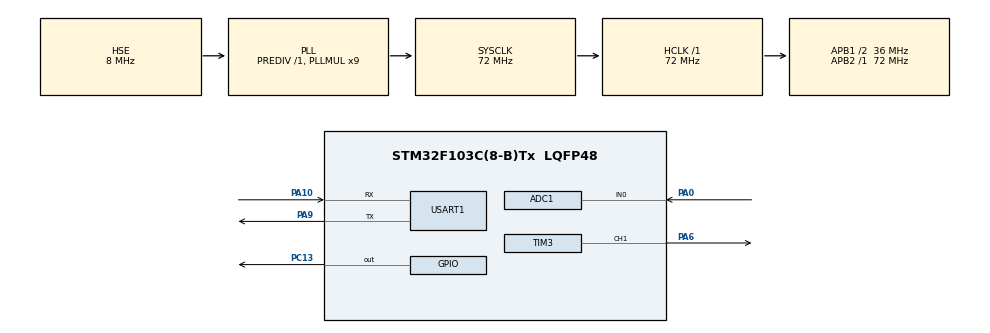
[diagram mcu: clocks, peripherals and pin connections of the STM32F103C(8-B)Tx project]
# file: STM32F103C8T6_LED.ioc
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ADC1.Channel-0\#ChannelRegularConversion=ADC_CHANNEL_0
ADC1.NbrOfConversionFlag=1
ADC1.Rank-0\#ChannelRegularConversion=1
ADC1.SamplingTime-0\#ChannelRegularConversion=ADC_SAMPLETIME_1CYCLE_5
ADC1.master=1
Mcu.Family=STM32F1
Mcu.Name=STM32F103C(8-B)Tx
Mcu.Package=LQFP48
NVIC.PriorityGroup=NVIC_PRIORITYGROUP_4
NVIC.TIM2_IRQn=true\:0\:0\:false\:false\:true\:true\:true\:true
NVIC.USART1_IRQn=true\:0\:0\:false\:false\:true\:true\:true\:true
PA0-WKUP.Signal=ADCx_IN0
PA10.Mode=Asynchronous
PA10.Signal=USART1_RX
PA6.Signal=S_TIM3_CH1
PA9.Mode=Asynchronous
PA9.Signal=USART1_TX
PC13-TAMPER-RTC.Signal=GPIO_Output
PD0-OSC_IN.Mode=HSE-External-Oscillator
PD0-OSC_IN.Signal=RCC_OSC_IN
PD1-OSC_OUT.Mode=HSE-External-Oscillator
PD1-OSC_OUT.Signal=RCC_OSC_OUT
ProjectManager.HeapSize=0x200
ProjectManager.StackSize=0x400
ProjectManager.TargetToolchain=CMake
RCC.ADCPresc=RCC_ADCPCLK2_DIV6
RCC.AHBFreq_Value=72000000
RCC.APB1CLKDivider=RCC_HCLK_DIV2
RCC.APB1Freq_Value=36000000
RCC.APB1TimFreq_Value=72000000
RCC.APB2Freq_Value=72000000
RCC.APB2TimFreq_Value=72000000
RCC.HCLKFreq_Value=72000000
RCC.PLLMUL=RCC_PLL_MUL9
RCC.PLLSourceVirtual=RCC_PLLSOURCE_HSE
RCC.SYSCLKFreq_VALUE=72000000
RCC.SYSCLKSource=RCC_SYSCLKSOURCE_PLLCLK
RCC.USBFreq_Value=72000000
SH.ADCx_IN0.0=ADC1_IN0,IN0
SH.S_TIM3_CH1.0=TIM3_CH1,PWM Generation1 CH1
TIM2.Period=99
TIM2.Prescaler=7199
TIM3.Channel-PWM\ Generation1\ CH1=TIM_CHANNEL_1
TIM3.Period=999
TIM3.Prescaler=71
USART1.VirtualMode=VM_ASYNC
VP_SYS_VS_ND.Mode=No_Debug
VP_TIM2_VS_ClockSourceINT.Mode=Internal
VP_TIM3_VS_ClockSourceINT.Mode=Internal
board=custom

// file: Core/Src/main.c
/* USER CODE BEGIN Header */
/**
  ******************************************************************************
  * @file           : main.c
  * @brief          : Main program body
  ******************************************************************************
  * @attention
  *
  * Copyright (c) 2026 STMicroelectronics.
  * All rights reserved.
  *
  * This software is licensed under terms that can be found in the LICENSE file
  * in the root directory of this software component.
  * If no LICENSE file comes with this software, it is provided AS-IS.
  *
  ******************************************************************************
  */
/* USER CODE END Header */
#include "main.h"

/* USER CODE BEGIN Includes */
#include <stdio.h>
#include "breather.h"
/* USER CODE END Includes */

ADC_HandleTypeDef hadc1;

TIM_HandleTypeDef htim2;
TIM_HandleTypeDef htim3;

UART_HandleTypeDef huart1;

/* USER CODE BEGIN PV */
volatile uint16_t tick_flag = 0;
uint8_t RxData[100];
static uint16_t adc_cnt = 0;
/* USER CODE END PV */

void SystemClock_Config(void);
static void MX_GPIO_Init(void);
static void MX_TIM2_Init(void);
static void MX_TIM3_Init(void);
static void MX_USART1_UART_Init(void);
static void MX_ADC1_Init(void);

int main(void)
{

  /* MCU Configuration--------------------------------------------------------*/

  /* Reset of all peripherals, Initializes the Flash interface and the Systick. */
  HAL_Init();

  /* Configure the system clock */
  SystemClock_Config();

  /* Initialize all configured peripherals */
  MX_GPIO_Init();
  MX_TIM2_Init();
  MX_TIM3_Init();
  MX_USART1_UART_Init();
  MX_ADC1_Init();
  /* USER CODE BEGIN 2 */
  HAL_TIM_Base_Start_IT(&htim2);
  Breather_Init();
  HAL_UARTEx_ReceiveToIdle_IT(&huart1, RxData, 100);
  HAL_ADCEx_Calibration_Start(&hadc1);
  /* USER CODE END 2 */

  /* Infinite loop */
  while (1)
  {
    /* no work to do */
    /* USER CODE BEGIN 3 */
    if(tick_flag){
      tick_flag = 0;
      Breather_Update();

      if(++adc_cnt >= 50){
        adc_cnt = 0;
        uint16_t adc_val;
        uint32_t mv;
        char buf[32];
        HAL_ADC_Start(&hadc1);
        HAL_ADC_PollForConversion(&hadc1, 100);
        adc_val = HAL_ADC_GetValue(&hadc1);
        mv = (uint32_t)adc_val * 3300 / 4096;
        int len = snprintf(buf, sizeof(buf), "ADC=%d, %d.%03dV\r\n", adc_val, (int)(mv/1000), (int)(mv%1000));
        HAL_UART_Transmit(&huart1, (uint8_t*)buf, len, 100);
      }
    }
  /* USER CODE END 3 */
  }
}

void SystemClock_Config(void)
{
  RCC_OscInitTypeDef RCC_OscInitStruct = {0};
  RCC_ClkInitTypeDef RCC_ClkInitStruct = {0};
  RCC_PeriphCLKInitTypeDef PeriphClkInit = {0};

  /** Initializes the RCC Oscillators according to the specified parameters
  * in the RCC_OscInitTypeDef structure.
  */
  RCC_OscInitStruct.OscillatorType = RCC_OSCILLATORTYPE_HSE;
  RCC_OscInitStruct.HSEState = RCC_HSE_ON;
  RCC_OscInitStruct.HSEPredivValue = RCC_HSE_PREDIV_DIV1;
  RCC_OscInitStruct.HSIState = RCC_HSI_ON;
  RCC_OscInitStruct.PLL.PLLState = RCC_PLL_ON;
  RCC_OscInitStruct.PLL.PLLSource = RCC_PLLSOURCE_HSE;
  RCC_OscInitStruct.PLL.PLLMUL = RCC_PLL_MUL9;
  if (HAL_RCC_OscConfig(&RCC_OscInitStruct) != HAL_OK)
  {
    Error_Handler();
  }

  /** Initializes the CPU, AHB and APB buses clocks
  */
  RCC_ClkInitStruct.ClockType = RCC_CLOCKTYPE_HCLK|RCC_CLOCKTYPE_SYSCLK
                              |RCC_CLOCKTYPE_PCLK1|RCC_CLOCKTYPE_PCLK2;
  RCC_ClkInitStruct.SYSCLKSource = RCC_SYSCLKSOURCE_PLLCLK;
  RCC_ClkInitStruct.AHBCLKDivider = RCC_SYSCLK_DIV1;
  RCC_ClkInitStruct.APB1CLKDivider = RCC_HCLK_DIV2;
  RCC_ClkInitStruct.APB2CLKDivider = RCC_HCLK_DIV1;

  if (HAL_RCC_ClockConfig(&RCC_ClkInitStruct, FLASH_LATENCY_2) != HAL_OK)
  {
    Error_Handler();
  }
  PeriphClkInit.PeriphClockSelection = RCC_PERIPHCLK_ADC;
  PeriphClkInit.AdcClockSelection = RCC_ADCPCLK2_DIV6;
  if (HAL_RCCEx_PeriphCLKConfig(&PeriphClkInit) != HAL_OK)
  {
    Error_Handler();
  }
}

static void MX_ADC1_Init(void)
{

  ADC_ChannelConfTypeDef sConfig = {0};

  /** Common config
  */
  hadc1.Instance = ADC1;
  hadc1.Init.ScanConvMode = ADC_SCAN_DISABLE;
  hadc1.Init.ContinuousConvMode = DISABLE;
  hadc1.Init.DiscontinuousConvMode = DISABLE;
  hadc1.Init.ExternalTrigConv = ADC_SOFTWARE_START;
  hadc1.Init.DataAlign = ADC_DATAALIGN_RIGHT;
  hadc1.Init.NbrOfConversion = 1;
  if (HAL_ADC_Init(&hadc1) != HAL_OK)
  {
    Error_Handler();
  }

  /** Configure Regular Channel
  */
  sConfig.Channel = ADC_CHANNEL_0;
  sConfig.Rank = ADC_REGULAR_RANK_1;
  sConfig.SamplingTime = ADC_SAMPLETIME_1CYCLE_5;
  if (HAL_ADC_ConfigChannel(&hadc1, &sConfig) != HAL_OK)
  {
    Error_Handler();
  }

}

static void MX_TIM2_Init(void)
{

  TIM_ClockConfigTypeDef sClockSourceConfig = {0};
  TIM_MasterConfigTypeDef sMasterConfig = {0};

  htim2.Instance = TIM2;
  htim2.Init.Prescaler = 7199;
  htim2.Init.CounterMode = TIM_COUNTERMODE_UP;
  htim2.Init.Period = 99;
  htim2.Init.ClockDivision = TIM_CLOCKDIVISION_DIV1;
  htim2.Init.AutoReloadPreload = TIM_AUTORELOAD_PRELOAD_DISABLE;
  if (HAL_TIM_Base_Init(&htim2) != HAL_OK)
  {
    Error_Handler();
  }
  sClockSourceConfig.ClockSource = TIM_CLOCKSOURCE_INTERNAL;
  if (HAL_TIM_ConfigClockSource(&htim2, &sClockSourceConfig) != HAL_OK)
  {
    Error_Handler();
  }
  sMasterConfig.MasterOutputTrigger = TIM_TRGO_RESET;
  sMasterConfig.MasterSlaveMode = TIM_MASTERSLAVEMODE_DISABLE;
  if (HAL_TIMEx_MasterConfigSynchronization(&htim2, &sMasterConfig) != HAL_OK)
  {
    Error_Handler();
  }

}

static void MX_TIM3_Init(void)
{

  TIM_ClockConfigTypeDef sClockSourceConfig = {0};
  TIM_MasterConfigTypeDef sMasterConfig = {0};
  TIM_OC_InitTypeDef sConfigOC = {0};

  htim3.Instance = TIM3;
  htim3.Init.Prescaler = 71;
  htim3.Init.CounterMode = TIM_COUNTERMODE_UP;
  htim3.Init.Period = 999;
  htim3.Init.ClockDivision = TIM_CLOCKDIVISION_DIV1;
  htim3.Init.AutoReloadPreload = TIM_AUTORELOAD_PRELOAD_DISABLE;
  if (HAL_TIM_Base_Init(&htim3) != HAL_OK)
  {
    Error_Handler();
  }
  sClockSourceConfig.ClockSource = TIM_CLOCKSOURCE_INTERNAL;
  if (HAL_TIM_ConfigClockSource(&htim3, &sClockSourceConfig) != HAL_OK)
  {
    Error_Handler();
  }
  if (HAL_TIM_PWM_Init(&htim3) != HAL_OK)
  {
    Error_Handler();
  }
  sMasterConfig.MasterOutputTrigger = TIM_TRGO_RESET;
  sMasterConfig.MasterSlaveMode = TIM_MASTERSLAVEMODE_DISABLE;
  if (HAL_TIMEx_MasterConfigSynchronization(&htim3, &sMasterConfig) != HAL_OK)
  {
    Error_Handler();
  }
  sConfigOC.OCMode = TIM_OCMODE_PWM1;
  sConfigOC.Pulse = 0;
  sConfigOC.OCPolarity = TIM_OCPOLARITY_HIGH;
  sConfigOC.OCFastMode = TIM_OCFAST_DISABLE;
  if (HAL_TIM_PWM_ConfigChannel(&htim3, &sConfigOC, TIM_CHANNEL_1) != HAL_OK)
  {
    Error_Handler();
  }
  HAL_TIM_MspPostInit(&htim3);

}

static void MX_USART1_UART_Init(void)
{

  huart1.Instance = USART1;
  huart1.Init.BaudRate = 115200;
  huart1.Init.WordLength = UART_WORDLENGTH_8B;
  huart1.Init.StopBits = UART_STOPBITS_1;
  huart1.Init.Parity = UART_PARITY_NONE;
  huart1.Init.Mode = UART_MODE_TX_RX;
  huart1.Init.HwFlowCtl = UART_HWCONTROL_NONE;
  huart1.Init.OverSampling = UART_OVERSAMPLING_16;
  if (HAL_UART_Init(&huart1) != HAL_OK)
  {
    Error_Handler();
  }

}

static void MX_GPIO_Init(void)
{
  GPIO_InitTypeDef GPIO_InitStruct = {0};

  /* GPIO Ports Clock Enable */
  __HAL_RCC_GPIOC_CLK_ENABLE();
  __HAL_RCC_GPIOD_CLK_ENABLE();
  __HAL_RCC_GPIOA_CLK_ENABLE();

  /*Configure GPIO pin Output Level */
  HAL_GPIO_WritePin(GPIOC, GPIO_PIN_13, GPIO_PIN_RESET);

  /*Configure GPIO pin : PC13 */
  GPIO_InitStruct.Pin = GPIO_PIN_13;
  GPIO_InitStruct.Mode = GPIO_MODE_OUTPUT_PP;
  GPIO_InitStruct.Pull = GPIO_NOPULL;
  GPIO_InitStruct.Speed = GPIO_SPEED_FREQ_LOW;
  HAL_GPIO_Init(GPIOC, &GPIO_InitStruct);

}

/* USER CODE BEGIN 4 */

// ===== EXTI 回调（呼吸灯暂不用按键）=====
void HAL_GPIO_EXTI_Callback(uint16_t GPIO_Pin)
{
    if (GPIO_Pin != GPIO_PIN_0) return;
}

// ===== TIM2 回调：10ms 到 → 打铃 =====
void HAL_TIM_PeriodElapsedCallback(TIM_HandleTypeDef *htim)
{
    if (htim->Instance != TIM2) return;
    tick_flag = 1;
}

// ===== UART 回调：空闲中断 → 回显 + 重新武装 =====
void HAL_UARTEx_RxEventCallback(UART_HandleTypeDef *huart, uint16_t Size)
{
    if (huart->Instance != USART1) return;
    HAL_UART_Transmit(&huart1, RxData, Size, 100);      // 回显收到的字节
    HAL_UARTEx_ReceiveToIdle_IT(&huart1, RxData, 100);  // 重新武装
}

/* USER CODE END 4 */

void Error_Handler(void)
{
  __disable_irq();
  while (1)
  {
  }
}
